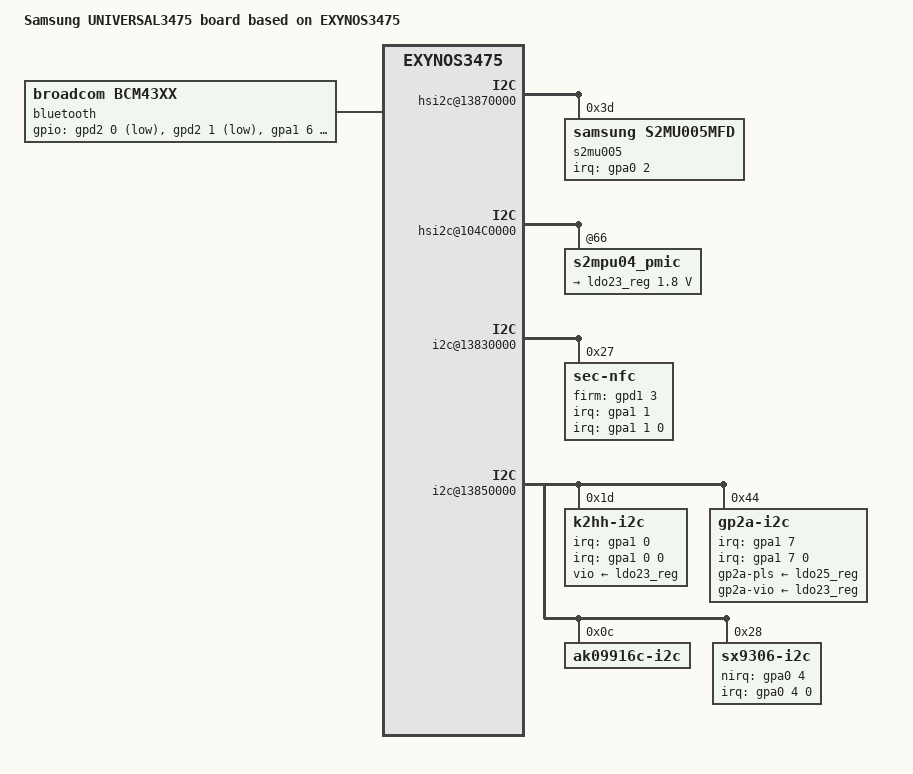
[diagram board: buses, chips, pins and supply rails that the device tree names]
/*
 * SAMSUNG EXYNOS3475 board device tree source
 *
 * Copyright (c) 2013 Samsung Electronics Co., Ltd.
 *		http://www.samsung.com
 *
 * This program is free software; you can redistribute it and/or modify
 * it under the terms of the GNU General Public License version 2 as
 * published by the Free Software Foundation.
*/

/dts-v1/;
#include "exynos3475-xcover3ve_common.dtsi"
#include "modem-ss308ap-pdata.dtsi"
#include "exynos3475-xcover3velte_battery.dtsi"
#include "exynos3475-xcover3velte_eur_open_gpio_00.dtsi"

/ {
	model = "Samsung UNIVERSAL3475 board based on EXYNOS3475";
	model_info-chip = <3475>;
	model_info-platform = "android";
	model_info-subtype = "samsung";
	model_info-hw_rev = <0>;
	model_info-hw_rev_end = <1>;
	compatible = "samsung,UNIVERSAL3475", "samsung,exynos3475";

	hsi2c@13870000 {
		status = "okay";
		s2mu005@3d {
			compatible = "samsung,s2mu005mfd";
			reg = <0x3d>;
			pinctrl-names = "default";
			pinctrl-0 = <&if_pmic_irq>;
			s2mu005,irq-gpio = <&gpa0 2 0>;
			s2mu005,wakeup;

			leds {
				flash-gpio = <&gpd2 3 0>;
				torch-gpio = <&gpd0 7 0>;

				flash_current = <1000>;
				preflash_current = <175>;
				movie_current = <175>;
				torch_current = <75>;
				factory_current = <250>;

				status = "okay";
				s2mu005-leds1 {
					ledname = "leds-sec1";
					id = <0>;
					timeout = <15>;
				};

				s2mu005-leds2 {
					ledname = "leds-sec2";
					id = <1>;
					timeout = <15>;
				};
			};

			muic {
				status = "okay";
				muic,uart_addr = "139c0000.pinctrl";
				muic,uart_rxd = "gpb1-0";
				muic,uart_txd = "gpb1-1";
				muic,undefined_range;
			};
		};
	};

	hsi2c@104C0000 {
		s2mpu04_pmic@66 {
			regulators {
				ldo23_reg: LDO23 {
					regulator-name = "vdd_ldo23";
					regulator-min-microvolt = <1800000>;
					regulator-max-microvolt = <1800000>;
					regulator-always-on;
					regulator-initial-mode = <3>;
				};
			};
		};
	};

	bluetooth {
		compatible = "broadcom,bcm43xx";
		gpios = <&gpd2 0 1	/*BT_EN*/
				&gpd2 1 1	/*BT_WAKE*/
				&gpa1 6 0xF	/*BT_HOST_WAKE*/ >;
		pinctrl-names = "default";
		pinctrl-0=<&bt_hostwake &bt_btwake &bt_reg_on>;
		status = "okay";
	};

	i2c@13830000 {
		status = "okay";
		samsung,i2c-max-bus-freq = <300000>;
		sec-nfc@27 {
			compatible = "sec-nfc";
			reg = <0x27>;
			interrupts = <1 0 0>;
			interrupt-parent = <&gpa1>;
			sec-nfc,firm-gpio = <&gpd1 3 0>;
			sec-nfc,irq-gpio = <&gpa1 1 0>;
			clkctrl-reg = <0x10466008>;
			sec-nfc,nfc_clkreq = <&gpc2 3 0x2>;
			sec-nfc,nfc_pd = <&gpc2 2 0x2>;
			sec-nfc,i2c_1p8 = "vdd_ldo23";
			pinctrl-names = "default";
			pinctrl-0 = <&nfc_n5_en &nfc_n5_clk_req &nfc_clk &nfc_n5_firm>;
		};
	};

	pinctrl@139B0000 {
		acc_int: acc_int {
			samsung,pins = "gpa1-0";
			samsung,pins-function = <0x0>;
			samsung,pin-pud = <0>;
			samsung,pin-drv = <0>;
		};
		prox_int: prox_int {
			samsung,pins = "gpa1-7";
			samsung,pins-function = <0xf>;
			samsung,pin-pud = <0>;
			samsung,pin-drv = <0>;
		};
		grip_int: grip_int {
			samsung,pins = "gpa0-4";
			samsung,pins-function = <0xf>;
			samsung,pin-pud = <0x0>;
			samsung,pin-drv = <0>;
		};
	};

	i2c@13850000 {
		status = "okay";

		k2hh-i2c@1D {
			compatible = "k2hh-i2c";
			reg = <0x1D>;
			pinctrl-names = "default";
			pinctrl-0 = <&acc_int>;
			interrupt-parent = <&gpa1>;
			interrupts = <0 0 0>;
			k2hh,irq_gpio = <&gpa1 0 0>;
			k2hh,vio-supply = <&ldo23_reg>;
			k2hh,axis_map_x = <0>;
			k2hh,axis_map_y = <1>;
			k2hh,axis_map_z = <2>;
			k2hh,negate_x = <1>;
			k2hh,negate_y = <1>;
			k2hh,negate_z = <1>;
			k2hh,poll_interval = <100>;
			k2hh,min_interval = <2>;
		};

		gp2a-i2c@44{
			compatible = "gp2a-i2c";
			reg = <0x44>;
			pinctrl-names = "default";
			pinctrl-0 = <&prox_int>;
			interrupt-parent = <&gpa1>;
			interrupts = <7 0 0>;
			gp2a,irq-gpio = <&gpa1 7 0>;
			gp2a,gpio_sensors_ldo_en = <&gpc1 2 0x1>; /*SENSOR LDO EN*/
			gp2a-pls-supply  = <&ldo25_reg>;
			gp2a-vio-supply  = <&ldo23_reg>;
		};

		ak09916c-i2c@0C {
			compatible = "ak09916c-i2c";
			reg = <0x0c>;
			ak09916c-i2c,chip_pos = <1>;
		};
		
		sx9306-i2c@28 {
			compatible = "sx9306-i2c";
			reg = <0x28>;
			pinctrl-names = "default";
			pinctrl-0 = <&grip_int>;
			interrupt-parent = <&gpa0>;
			interrupts = <4 0 0>;
			sx9306-i2c,nirq-gpio = <&gpa0 4 0>;
			sx9306-i2c,normal_th = <15>;
		};
	};
};
